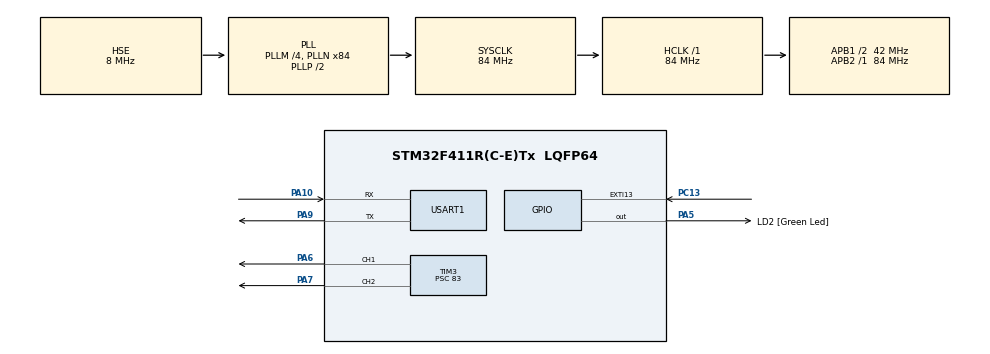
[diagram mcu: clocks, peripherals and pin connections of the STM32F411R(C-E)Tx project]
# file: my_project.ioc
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FREERTOS.BinarySemaphores01=myEmergencySem,Dynamic,NULL
FREERTOS.Tasks01=defaultTask,24,128,StartDefaultTask,Default,NULL,Dynamic,NULL,NULL;vMotorTask,24,128,StartMotorTask,Default,NULL,Dynamic,NULL,NULL;vEmergencyTask,40,128,StartEmergencyTask,Default,NULL,Dynamic,NULL,NULL
Mcu.Family=STM32F4
Mcu.Name=STM32F411R(C-E)Tx
Mcu.Package=LQFP64
NVIC.EXTI15_10_IRQn=true\:5\:0\:false\:false\:true\:true\:true\:true\:true
NVIC.PriorityGroup=NVIC_PRIORITYGROUP_4
NVIC.TIM1_UP_TIM10_IRQn=true\:15\:0\:false\:false\:true\:false\:false\:true\:true
NVIC.TimeBase=TIM1_UP_TIM10_IRQn
NVIC.TimeBaseIP=TIM1
NVIC.USART1_IRQn=true\:5\:0\:false\:false\:true\:true\:true\:true\:true
PA10.Mode=Asynchronous
PA10.Signal=USART1_RX
PA13.GPIO_Label=TMS
PA13.Mode=Serial_Wire
PA13.Signal=SYS_JTMS-SWDIO
PA14.GPIO_Label=TCK
PA14.Mode=Serial_Wire
PA14.Signal=SYS_JTCK-SWCLK
PA5.GPIO_Label=LD2 [Green Led]
PA5.Signal=GPIO_Output
PA6.Signal=S_TIM3_CH1
PA7.Signal=S_TIM3_CH2
PA9.Mode=Asynchronous
PA9.Signal=USART1_TX
PB3.GPIO_Label=SWO
PB3.Signal=SYS_JTDO-SWO
PC13-ANTI_TAMP.Signal=GPXTI13
PC14-OSC32_IN.Mode=LSE-External-Oscillator
PC14-OSC32_IN.Signal=RCC_OSC32_IN
PC15-OSC32_OUT.Mode=LSE-External-Oscillator
PC15-OSC32_OUT.Signal=RCC_OSC32_OUT
PH0\ -\ OSC_IN.Mode=HSE-External-Clock-Source
PH0\ -\ OSC_IN.Signal=RCC_OSC_IN
PH1\ -\ OSC_OUT.Mode=HSE-External-Clock-Source
PH1\ -\ OSC_OUT.Signal=RCC_OSC_OUT
ProjectManager.HeapSize=0x200
ProjectManager.StackSize=0x400
ProjectManager.TargetToolchain=MDK-ARM V5.32
RCC.48MHZClocksFreq_Value=42000000
RCC.AHBFreq_Value=84000000
RCC.APB1CLKDivider=RCC_HCLK_DIV2
RCC.APB1Freq_Value=42000000
RCC.APB1TimFreq_Value=84000000
RCC.APB2Freq_Value=84000000
RCC.APB2TimFreq_Value=84000000
RCC.CortexFreq_Value=84000000
RCC.FLatency-AdvancedSettings=FLASH_LATENCY_2
RCC.HCLKFreq_Value=84000000
RCC.HSE_VALUE=8000000
RCC.HSI_VALUE=16000000
RCC.PLLM=4
RCC.PLLN=84
RCC.PLLSourceVirtual=RCC_PLLSOURCE_HSE
RCC.SYSCLKFreq_VALUE=84000000
RCC.SYSCLKSource=RCC_SYSCLKSOURCE_PLLCLK
RCC.VCOOutputFreq_Value=168000000
SH.S_TIM3_CH1.0=TIM3_CH1,PWM Generation1 CH1
SH.S_TIM3_CH2.0=TIM3_CH2,PWM Generation2 CH2
TIM3.AutoReloadPreload=TIM_AUTORELOAD_PRELOAD_DISABLE
TIM3.Channel-PWM\ Generation1\ CH1=TIM_CHANNEL_1
TIM3.Channel-PWM\ Generation2\ CH2=TIM_CHANNEL_2
TIM3.Period=19999
TIM3.Prescaler=83
TIM3.Pulse-PWM\ Generation1\ CH1=1500
USART1.VirtualMode=VM_ASYNC
VP_FREERTOS_VS_CMSIS_V2.Mode=CMSIS_V2
VP_SYS_VS_tim1.Mode=TIM1
VP_TIM3_VS_ClockSourceINT.Mode=Internal
board=NUCLEO-F411RE

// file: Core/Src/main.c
/* USER CODE BEGIN Header */
/**
  ******************************************************************************
  * @file           : main.c
  * @brief          : Main program body
  ******************************************************************************
  * @attention
  *
  * Copyright (c) 2026 STMicroelectronics.
  * All rights reserved.
  *
  * This software is licensed under terms that can be found in the LICENSE file
  * in the root directory of this software component.
  * If no LICENSE file comes with this software, it is provided AS-IS.
  *
  ******************************************************************************
  */
/* USER CODE END Header */
#include "main.h"
#include "cmsis_os.h"

/* USER CODE BEGIN Includes */
#include <stdio.h> // 수신 패킷 파싱(sscanf)용
/* USER CODE END Includes */

/* USER CODE BEGIN PD */
/* 이 시간(ms) 동안 유효 패킷이 한 번도 오지 않으면 링크 두절로 판단한다.
 * 파이는 약 20Hz(50ms)로 송신하므로 300ms는 6프레임 연속 유실에 해당한다. */
#define RPI_LINK_TIMEOUT_MS   300U
/* USER CODE END PD */

TIM_HandleTypeDef htim3;
UART_HandleTypeDef huart1;

/* Definitions for defaultTask */
osThreadId_t defaultTaskHandle;
const osThreadAttr_t defaultTask_attributes = {
  .name = "defaultTask",
  .stack_size = 128 * 4,
  .priority = (osPriority_t) osPriorityNormal,
};
/* Definitions for vMotorTask */
osThreadId_t vMotorTaskHandle;
const osThreadAttr_t vMotorTask_attributes = {
  .name = "vMotorTask",
  .stack_size = 128 * 4,
  .priority = (osPriority_t) osPriorityNormal,
};
/* Definitions for vEmergencyTask */
osThreadId_t vEmergencyTaskHandle;
const osThreadAttr_t vEmergencyTask_attributes = {
  .name = "vEmergencyTask",
  .stack_size = 128 * 4,
  .priority = (osPriority_t) osPriorityHigh,
};
/* Definitions for myEmergencySem */
osSemaphoreId_t myEmergencySemHandle;
const osSemaphoreAttr_t myEmergencySem_attributes = {
  .name = "myEmergencySem"
};

/* USER CODE BEGIN PV */
volatile uint8_t is_emergency = 0; // 비상 정지 플래그 (0: 정상 구동, 1: 비상정지 발동)

/* 라즈베리파이 UART 수신 버퍼 변수 */
uint8_t rx_data;          // HAL이 1바이트씩 수신해 채우는 버퍼
char rx_buf[30];          // 개행까지 한 줄을 조립하는 버퍼
uint8_t rx_idx = 0;       // rx_buf 내 다음 저장 위치

/* 실시간 픽셀 오차 보관용 전역 변수 */
volatile int32_t rpi_err_x = 0;
volatile int32_t rpi_err_y = 0;

/* 타겟 유효성 및 링크 상태 (USART1 ISR에서 write, 모터 태스크에서 read) */
volatile uint8_t  rpi_target_valid = 0;   // 1: 현재 프레임에서 사람 검출, 0: 미검출
volatile uint32_t rpi_last_rx_tick = 0;   // 마지막 유효 패킷 수신 시각 (HAL tick)
/* USER CODE END PV */

void SystemClock_Config(void);
static void MX_GPIO_Init(void);
static void MX_TIM3_Init(void);
static void MX_USART1_UART_Init(void);
void StartDefaultTask(void *argument);
void StartMotorTask(void *argument);
void StartEmergencyTask(void *argument);

int main(void)
{

  /* MCU Configuration--------------------------------------------------------*/
  /* Reset of all peripherals, Initializes the Flash interface and the Systick. */
  HAL_Init();

  /* Configure the system clock */
  SystemClock_Config();

  /* Initialize all configured peripherals */
  MX_GPIO_Init();
  MX_TIM3_Init();
  MX_USART1_UART_Init();

  /* USER CODE BEGIN 2 */
  // 주변장치 초기화 완료 표시 (LED on)
  HAL_GPIO_WritePin(GPIOA, GPIO_PIN_5, GPIO_PIN_SET);

  // UART 수신 인터럽트 최초 무장. 이후에는 수신 콜백이 스스로 재무장한다.
  HAL_UART_Receive_IT(&huart1, &rx_data, 1);
  /* USER CODE END 2 */

  /* Init scheduler */
  osKernelInitialize();

  /* Create the semaphore(s) */
  myEmergencySemHandle = osSemaphoreNew(1, 0, &myEmergencySem_attributes);

  /* Create the thread(s) */
  defaultTaskHandle = osThreadNew(StartDefaultTask, NULL, &defaultTask_attributes);

  /* USER CODE BEGIN RTOS_THREADS */
  vMotorTaskHandle = osThreadNew(StartMotorTask, NULL, &vMotorTask_attributes);
  vEmergencyTaskHandle = osThreadNew(StartEmergencyTask, NULL, &vEmergencyTask_attributes);
  /* USER CODE END RTOS_THREADS */

  /* Start scheduler */
  osKernelStart();

  /* We should never get here as control is now taken by the scheduler */
  while (1)
  {
  }
}

void SystemClock_Config(void)
{
  RCC_OscInitTypeDef RCC_OscInitStruct = {0};
  RCC_ClkInitTypeDef RCC_ClkInitStruct = {0};

  __HAL_RCC_PWR_CLK_ENABLE();
  __HAL_PWR_VOLTAGESCALING_CONFIG(PWR_REGULATOR_VOLTAGE_SCALE1);

  RCC_OscInitStruct.OscillatorType = RCC_OSCILLATORTYPE_HSE;
  RCC_OscInitStruct.HSEState = RCC_HSE_BYPASS;
  RCC_OscInitStruct.PLL.PLLState = RCC_PLL_ON;
  RCC_OscInitStruct.PLL.PLLSource = RCC_PLLSOURCE_HSE;
  RCC_OscInitStruct.PLL.PLLM = 4;
  RCC_OscInitStruct.PLL.PLLN = 84;
  RCC_OscInitStruct.PLL.PLLP = RCC_PLLP_DIV2;
  RCC_OscInitStruct.PLL.PLLQ = 4;
  if (HAL_RCC_OscConfig(&RCC_OscInitStruct) != HAL_OK)
  {
    Error_Handler();
  }

  RCC_ClkInitStruct.ClockType = RCC_CLOCKTYPE_HCLK|RCC_CLOCKTYPE_SYSCLK
                              |RCC_CLOCKTYPE_PCLK1|RCC_CLOCKTYPE_PCLK2;
  RCC_ClkInitStruct.SYSCLKSource = RCC_SYSCLKSOURCE_PLLCLK;
  RCC_ClkInitStruct.AHBCLKDivider = RCC_SYSCLK_DIV1;
  RCC_ClkInitStruct.APB1CLKDivider = RCC_HCLK_DIV2;
  RCC_ClkInitStruct.APB2CLKDivider = RCC_HCLK_DIV1;

  if (HAL_RCC_ClockConfig(&RCC_ClkInitStruct, FLASH_LATENCY_2) != HAL_OK)
  {
    Error_Handler();
  }
}

static void MX_TIM3_Init(void)
{
  TIM_ClockConfigTypeDef sClockSourceConfig = {0};
  TIM_MasterConfigTypeDef sMasterConfig = {0};
  TIM_OC_InitTypeDef sConfigOC = {0};

  /* TIM3는 APB1(PCLK1 = 42MHz)에 연결되어 있으나, APB1 프리스케일러가 1이 아니면
   * 타이머 클럭은 PCLK의 2배가 되므로 실제 TIM3 클럭은 84MHz이다.
   *   84MHz / (83 + 1)  = 1MHz        -> 1틱 = 1us
   *   (19999 + 1)틱     = 20,000us    -> 20ms = 50Hz (표준 서보 주기)          */
  htim3.Instance = TIM3;
  htim3.Init.Prescaler = 83;
  htim3.Init.CounterMode = TIM_COUNTERMODE_UP;
  htim3.Init.Period = 19999;
  htim3.Init.ClockDivision = TIM_CLOCKDIVISION_DIV1;
  htim3.Init.AutoReloadPreload = TIM_AUTORELOAD_PRELOAD_DISABLE;
  if (HAL_TIM_Base_Init(&htim3) != HAL_OK)
  {
    Error_Handler();
  }
  sClockSourceConfig.ClockSource = TIM_CLOCKSOURCE_INTERNAL;
  if (HAL_TIM_ConfigClockSource(&htim3, &sClockSourceConfig) != HAL_OK)
  {
    Error_Handler();
  }
  if (HAL_TIM_PWM_Init(&htim3) != HAL_OK)
  {
    Error_Handler();
  }
  sMasterConfig.MasterOutputTrigger = TIM_TRGO_RESET;
  sMasterConfig.MasterSlaveMode = TIM_MASTERSLAVEMODE_DISABLE;
  if (HAL_TIMEx_MasterConfigSynchronization(&htim3, &sMasterConfig) != HAL_OK)
  {
    Error_Handler();
  }

  // 채널 1 (PA6) : 팬(X축)
  sConfigOC.OCMode = TIM_OCMODE_PWM1;
  sConfigOC.Pulse = 1500; // 1500us = 90도 (중립)
  sConfigOC.OCPolarity = TIM_OCPOLARITY_HIGH;
  sConfigOC.OCFastMode = TIM_OCFAST_DISABLE;
  if (HAL_TIM_PWM_ConfigChannel(&htim3, &sConfigOC, TIM_CHANNEL_1) != HAL_OK)
  {
    Error_Handler();
  }

  // 채널 2 (PA7) : 틸트(Y축)
  sConfigOC.Pulse = 1500;
  if (HAL_TIM_PWM_ConfigChannel(&htim3, &sConfigOC, TIM_CHANNEL_2) != HAL_OK)
  {
    Error_Handler();
  }
  HAL_TIM_MspPostInit(&htim3);
}

static void MX_USART1_UART_Init(void)
{
  huart1.Instance = USART1;
  huart1.Init.BaudRate = 115200;
  huart1.Init.WordLength = UART_WORDLENGTH_8B;
  huart1.Init.StopBits = UART_STOPBITS_1;
  huart1.Init.Parity = UART_PARITY_NONE;
  huart1.Init.Mode = UART_MODE_TX_RX;
  huart1.Init.HwFlowCtl = UART_HWCONTROL_NONE;
  huart1.Init.OverSampling = UART_OVERSAMPLING_16;
  if (HAL_UART_Init(&huart1) != HAL_OK)
  {
    Error_Handler();
  }
}

static void MX_GPIO_Init(void)
{
  GPIO_InitTypeDef GPIO_InitStruct = {0};

  /* GPIO Ports Clock Enable */
  __HAL_RCC_GPIOC_CLK_ENABLE();
  __HAL_RCC_GPIOH_CLK_ENABLE();
  __HAL_RCC_GPIOA_CLK_ENABLE();
  __HAL_RCC_GPIOB_CLK_ENABLE();

  /*Configure GPIO pin Output Level */
  HAL_GPIO_WritePin(GPIOA, GPIO_PIN_5, GPIO_PIN_RESET);

  /*Configure GPIO pin : PC13 (사용자 버튼 B1, 비상정지) */
  GPIO_InitStruct.Pin = GPIO_PIN_13;
  GPIO_InitStruct.Mode = GPIO_MODE_IT_RISING;
  GPIO_InitStruct.Pull = GPIO_NOPULL;
  HAL_GPIO_Init(GPIOC, &GPIO_InitStruct);

  /*Configure GPIO pin : PA5 (LD2 보드 내장 LED) */
  GPIO_InitStruct.Pin = GPIO_PIN_5;
  GPIO_InitStruct.Mode = GPIO_MODE_OUTPUT_PP;
  GPIO_InitStruct.Pull = GPIO_NOPULL;
  GPIO_InitStruct.Speed = GPIO_SPEED_FREQ_LOW;
  HAL_GPIO_Init(GPIOA, &GPIO_InitStruct);

  /* EXTI 인터럽트 활성화.
   * 우선순위 5는 configLIBRARY_MAX_SYSCALL_INTERRUPT_PRIORITY와 같은 값으로,
   * ISR에서 FreeRTOS API를 호출할 수 있는 가장 높은(숫자가 작은) 우선순위다.
   * 이보다 숫자가 작으면 커널 임계구역에 막히지 않아 세마포어 반환이 위험해진다. */
  HAL_NVIC_SetPriority(EXTI15_10_IRQn, 5, 0);
  HAL_NVIC_EnableIRQ(EXTI15_10_IRQn);
}

/* USER CODE BEGIN 4 */
void HAL_GPIO_EXTI_Callback(uint16_t GPIO_Pin)
{
  if (GPIO_Pin == GPIO_PIN_13)
  {
    // ISR에서는 세마포어 반환만 하고 실제 처리는 vEmergencyTask에 위임한다.
    osSemaphoreRelease(myEmergencySemHandle);
  }
}

/* USART1 1바이트 수신 완료 콜백. 개행을 만나면 한 줄을 파싱한다. */
void HAL_UART_RxCpltCallback(UART_HandleTypeDef *huart)
{
  if(huart->Instance == USART1)
  {
    // 수신 활성 표시
    HAL_GPIO_TogglePin(GPIOA, GPIO_PIN_5);

    if(rx_data == '\n') // 개행 = 패킷 한 개 완성
    {
      rx_buf[rx_idx] = '\0'; // 널 종단

      int32_t parsed_x = 0;
      int32_t parsed_y = 0;

      int32_t parsed_d = 1;   // D 필드가 없는 v1 패킷은 '검출됨'으로 간주

      // [프로토콜 v2] X<오차>Y<오차>D<0|1>   D: 사람 검출 여부
      if(sscanf(rx_buf, "X%dY%dD%d", &parsed_x, &parsed_y, &parsed_d) == 3)
      {
        rpi_err_x        = parsed_x;
        rpi_err_y        = parsed_y;
        rpi_target_valid = (parsed_d != 0) ? 1 : 0;
        rpi_last_rx_tick = HAL_GetTick();
      }
      // [프로토콜 v1 하위 호환] X<오차>Y<오차>
      else if(sscanf(rx_buf, "X%dY%d", &parsed_x, &parsed_y) == 2)
      {
        rpi_err_x        = parsed_x;
        rpi_err_y        = parsed_y;
        rpi_target_valid = 1;
        rpi_last_rx_tick = HAL_GetTick();
      }
      rx_idx = 0; // 다음 줄을 위해 초기화
    }
    else
    {
      if(rx_idx < sizeof(rx_buf) - 1) // 오버플로우 방지
      {
        rx_buf[rx_idx++] = rx_data;
      }
    }

    // 다음 1바이트 수신을 위해 재무장. 이 호출이 빠지면 수신이 멈춘다.
    HAL_UART_Receive_IT(&huart1, &rx_data, 1);
  }
}

/* UART 에러 콜백.
 *
 * HAL_UART_Receive_IT()는 1바이트를 받으면 수신을 종료하고 gState를 READY로
 * 되돌리므로, 콜백에서 다시 무장해야 수신이 이어진다. 그런데 콜백 처리가 늦어진
 * 사이에 다음 바이트가 도착하면 ORE(Overrun Error)가 발생하고, HAL은
 * RxCpltCallback 대신 이 콜백으로 진입한다. 여기서 재무장하지 않으면
 * 수신이 영구히 멈춘다.
 *
 * 플래그를 먼저 지우는 이유: 에러 플래그가 남아 있으면 인터럽트가 즉시
 * 재발생해 무한 루프에 빠진다. 따라서 클리어 -> 재무장 순서를 지킨다.       */
void HAL_UART_ErrorCallback(UART_HandleTypeDef *huart)
{
  if(huart->Instance == USART1)
  {
    __HAL_UART_CLEAR_OREFLAG(huart);
    __HAL_UART_CLEAR_FEFLAG(huart);
    __HAL_UART_CLEAR_NEFLAG(huart);

    HAL_UART_Receive_IT(&huart1, &rx_data, 1); // 수신 재무장
  }
}
/* USER CODE END 4 */

/* USER CODE BEGIN Header_StartDefaultTask */
void StartDefaultTask(void *argument)
{
  for(;;)
  {
    osDelay(1);
  }
}
/* USER CODE END Header_StartDefaultTask */

/* USER CODE BEGIN Header_StartMotorTask */
/**
* @brief 2축(팬/틸트) 서보 제어 태스크. 50Hz 고정 주기로 동작한다.
*/
void StartMotorTask(void *argument)
{
  // 서보 중립(90도)에서 시작
  double x_current = 90.0;
  double x_error = 0.0;
  double x_prev_error = 0.0;
  double x_derivative = 0.0;
  double x_control = 0.0;

  double y_current = 90.0;
  double y_error = 0.0;
  double y_prev_error = 0.0;
  double y_derivative = 0.0;
  double y_control = 0.0;

  // 제어 게인. 진동이 발생하지 않는 범위에서 보수적으로 설정 (실측 튜닝 전)
  double Kp_x = 0.0008;   double Kd_x = 0.0002;
  double Kp_y = 0.0006;   double Kd_y = 0.0002;

  // 1: 추적 중 / 0: 타겟 소실 또는 링크 두절 → 현재 각도 유지(hold)
  uint8_t tracking = 0;

  uint32_t pwm_motor1 = 1500;
  uint32_t pwm_motor2 = 1500;

  // PWM 출력 시작
  HAL_TIM_PWM_Start(&htim3, TIM_CHANNEL_1);
  HAL_TIM_PWM_Start(&htim3, TIM_CHANNEL_2);

  for(;;)
  {
    if (is_emergency == 1) { osDelay(10); continue; }

    /* ── 타겟/링크 상태 판정 ────────────────────────────────────────
     * 서로 다른 두 가지 실패 모드를 구분한다.
     *   (1) 타겟 소실 : 링크는 정상이나 프레임에 사람이 없음  (D0 수신)
     *   (2) 링크 두절 : 파이 다운·케이블 탈락 등으로 패킷 자체가 끊김
     *
     * 두 경우 모두 마지막 오차가 그대로 남아 x_current에 계속 누적되면
     * 카메라가 클램프 한계까지 밀려가는 드리프트가 발생한다.
     * 따라서 오차를 0으로 만들고 미분기까지 리셋해 제어 출력을 0으로 만들어
     * 현재 각도를 그대로 유지시킨다.
     *
     * ※ HAL_GetTick() - rpi_last_rx_tick 은 부호 없는 뺄셈이므로
     *   49.7일 후 tick 오버플로우가 나도 차이값은 정상 동작한다.
     */
    if ((HAL_GetTick() - rpi_last_rx_tick) > RPI_LINK_TIMEOUT_MS)
    {
      tracking = 0;                  // (2) 링크 두절
    }
    else
    {
      tracking = rpi_target_valid;   // (1) 타겟 검출 여부에 따름
    }

    if (tracking)
    {
      x_error = -(double)rpi_err_x;  // 팬 축은 부호 반전
      y_error =  (double)rpi_err_y;
    }
    else
    {
      // 오차 0 + 미분기 리셋 → 제어 출력 0 → 현재 각도에서 정지
      x_error = 0.0;  x_prev_error = 0.0;
      y_error = 0.0;  y_prev_error = 0.0;
    }

    /* X축(팬) 제어.
     * 제어 출력을 각도에 누적(x_current +=)하는 속도형(velocity form) 구조이므로
     * 거동은 적분기에 가깝다. 오차가 0이 되면 더 이상 움직이지 않는다. */
    x_derivative = x_error - x_prev_error;
    x_control = (Kp_x * x_error) + (Kd_x * x_derivative);
    x_current += x_control;
    x_prev_error = x_error;

    /* Y축(틸트) 제어. X축과 동일한 구조, 게인만 다르다. */
    y_derivative = y_error - y_prev_error;
    y_control = (Kp_y * y_error) + (Kd_y * y_derivative);
    y_current += y_control;
    y_prev_error = y_error;

    // 기구적 가동 범위 제한 (5 ~ 175도)
    if (x_current < 5.0)   x_current = 5.0;
    if (x_current > 175.0) x_current = 175.0;
    if (y_current < 5.0)   y_current = 5.0;
    if (y_current > 175.0) y_current = 175.0;

    /* 각도 -> 펄스폭(us) 변환. 기울기 = (2500 - 500) / 180 = 11.111
     * 타이머가 1us/틱으로 설정되어 있어 us 값을 그대로 CCR에 넣을 수 있다. */
    pwm_motor1 = (uint32_t)((x_current * 11.111) + 500.0);
    pwm_motor2 = (uint32_t)((y_current * 11.111) + 500.0);

    // 매크로 실체는 TIM3->CCR1 / CCR2 직접 대입
    __HAL_TIM_SET_COMPARE(&htim3, TIM_CHANNEL_1, pwm_motor1);
    __HAL_TIM_SET_COMPARE(&htim3, TIM_CHANNEL_2, pwm_motor2);

    // 20ms = 50Hz. 미분항이 일정한 샘플링 주기를 전제하므로 고정한다.
    osDelay(20);
  }
}
/* USER CODE END Header_StartMotorTask */

/* USER CODE BEGIN Header_StartEmergencyTask */
/**
* @brief 비상정지 태스크. 세마포어 대기 중에는 Blocked 상태로 CPU를 점유하지 않는다.
*/
void StartEmergencyTask(void *argument)
{
  for(;;)
  {
    if (osSemaphoreAcquire(myEmergencySemHandle, osWaitForever) == osOK)
    {
      is_emergency = 1;

      // 타이머 출력을 정지시켜 펄스 자체를 차단
      HAL_TIM_PWM_Stop(&htim3, TIM_CHANNEL_1);
      HAL_TIM_PWM_Stop(&htim3, TIM_CHANNEL_2);

      // 비상정지 상태 표시 (LED off)
      HAL_GPIO_WritePin(GPIOA, GPIO_PIN_5, GPIO_PIN_RESET);
    }
  }
}
/* USER CODE END Header_StartEmergencyTask */

void HAL_TIM_PeriodElapsedCallback(TIM_HandleTypeDef *htim)
{
  if (htim->Instance == TIM1) {
    HAL_IncTick();
  }
}

void Error_Handler(void)
{
  __disable_irq();
  while (1)
  {
  }
}
